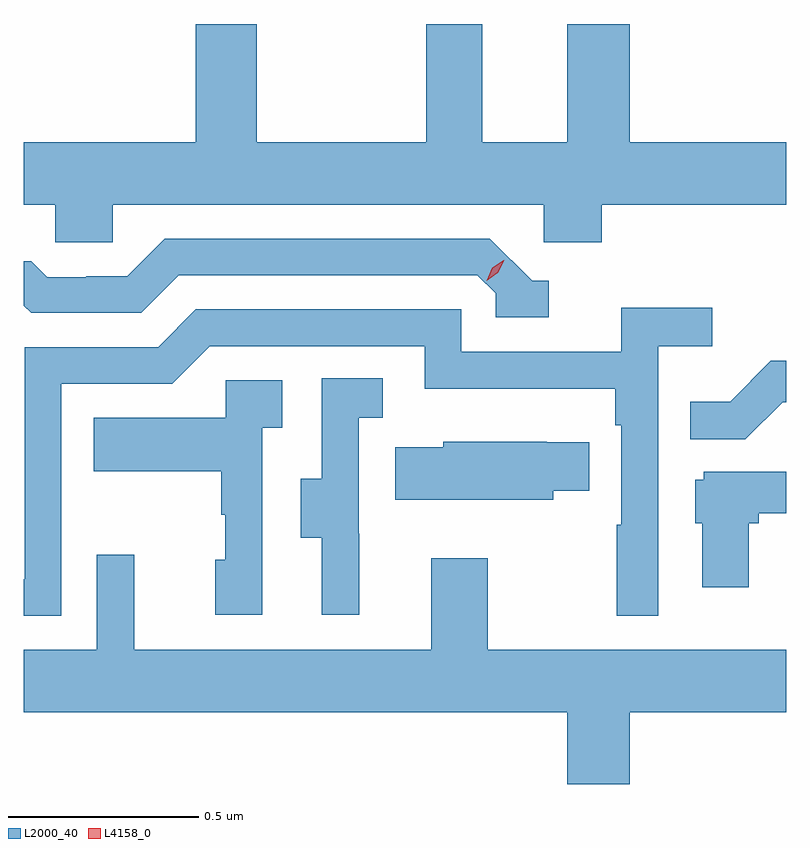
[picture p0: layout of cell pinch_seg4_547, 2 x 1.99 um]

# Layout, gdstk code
import gdstk
lib = gdstk.Library(unit=1e-6, precision=1e-09)
def P(c, l, *ps):  # polygons
    for p in ps: c.add(gdstk.Polygon(p, *l))
L2000_40 = (2000, 40)
L4158_0 = (4158, 0)

pinch_seg4_547 = lib.new_cell('pinch_seg4_547')
P(pinch_seg4_547, L2000_40, [(1122.855,778.172),(1123.986,778.172),(1123.986,778.074),(1124.138,778.074),(1124.138,778.172),(1124.622,778.172),(1124.622,778.336),(1124.212,778.336),(1124.212,778.646),(1124.048,778.646),(1124.048,778.336),(1123.825,778.336),(1123.825,778.646),(1123.678,778.646),(1123.678,778.336),(1123.233,778.336),(1123.233,778.646),(1123.073,778.646),(1123.073,778.336),(1122.622,778.336),(1122.622,778.172),(1122.705,778.172),(1122.705,778.074),(1122.855,778.074)],
  [(1123.999,777.972),(1123.956,777.972),(1123.845,778.083),(1122.992,778.083),(1122.893,777.984),(1122.786,777.984),(1122.786,777.981),(1122.683,777.981),(1122.641,778.024),(1122.622,778.024),(1122.622,777.907),(1122.641,777.888),(1122.93,777.888),(1123.029,777.987),(1123.812,777.987),(1123.86,777.939),(1123.86,777.876),(1123.999,777.876)],
  [(1122.72,777.702),(1123.011,777.702),(1123.11,777.801),(1123.674,777.801),(1123.674,777.689),(1124.173,777.689),(1124.173,777.593),(1124.19,777.593),(1124.19,777.332),(1124.178,777.332),(1124.178,777.093),(1124.286,777.093),(1124.286,777.8),(1124.428,777.8),(1124.428,777.902),(1124.189,777.902),(1124.189,777.786),(1123.77,777.786),(1123.77,777.897),(1123.073,777.897),(1122.974,777.798),(1122.624,777.798),(1122.624,777.189),(1122.622,777.189),(1122.622,777.093),(1122.72,777.093)],
  [(1124.613,777.654),(1124.622,777.654),(1124.622,777.762),(1124.582,777.762),(1124.475,777.655),(1124.371,777.655),(1124.371,777.556),(1124.515,777.556)],
  [(1123.502,777.309),(1123.5,777.309),(1123.5,777.613),(1123.564,777.613),(1123.564,777.716),(1123.404,777.716),(1123.404,777.453),(1123.349,777.453),(1123.349,777.298),(1123.403,777.298),(1123.403,777.096),(1123.502,777.096)],
  [(1123.248,777.587),(1123.3,777.587),(1123.3,777.711),(1123.152,777.711),(1123.152,777.613),(1122.805,777.613),(1122.805,777.473),(1123.14,777.473),(1123.14,777.359),(1123.15,777.359),(1123.15,777.24),(1123.124,777.24),(1123.124,777.096),(1123.248,777.096)],
  [(1124.011,777.421),(1124.105,777.421),(1124.105,777.549),(1123.994,777.549),(1123.994,777.55),(1123.722,777.55),(1123.722,777.535),(1123.597,777.535),(1123.597,777.398),(1124.011,777.398)],
  [(1124.524,777.336),(1124.55,777.336),(1124.55,777.363),(1124.622,777.363),(1124.622,777.471),(1124.406,777.471),(1124.406,777.45),(1124.384,777.45),(1124.384,777.336),(1124.402,777.336),(1124.402,777.168),(1124.524,777.168)],
  [(1124.212,776.84),(1124.622,776.84),(1124.622,777.004),(1123.839,777.004),(1123.839,777.244),(1123.691,777.244),(1123.691,777.004),(1122.911,777.004),(1122.911,777.253),(1122.813,777.253),(1122.813,777.004),(1122.622,777.004),(1122.622,776.84),(1124.048,776.84),(1124.048,776.652),(1124.212,776.652)])
P(pinch_seg4_547, L4158_0, [(1123.836,777.973),(1123.836,777.973),(1123.851,778.006),(1123.881,778.026),(1123.882,778.026),(1123.882,778.026),(1123.866,777.993),(1123.836,777.973)])

lib.write_gds('pinch_seg4_547.gds')
